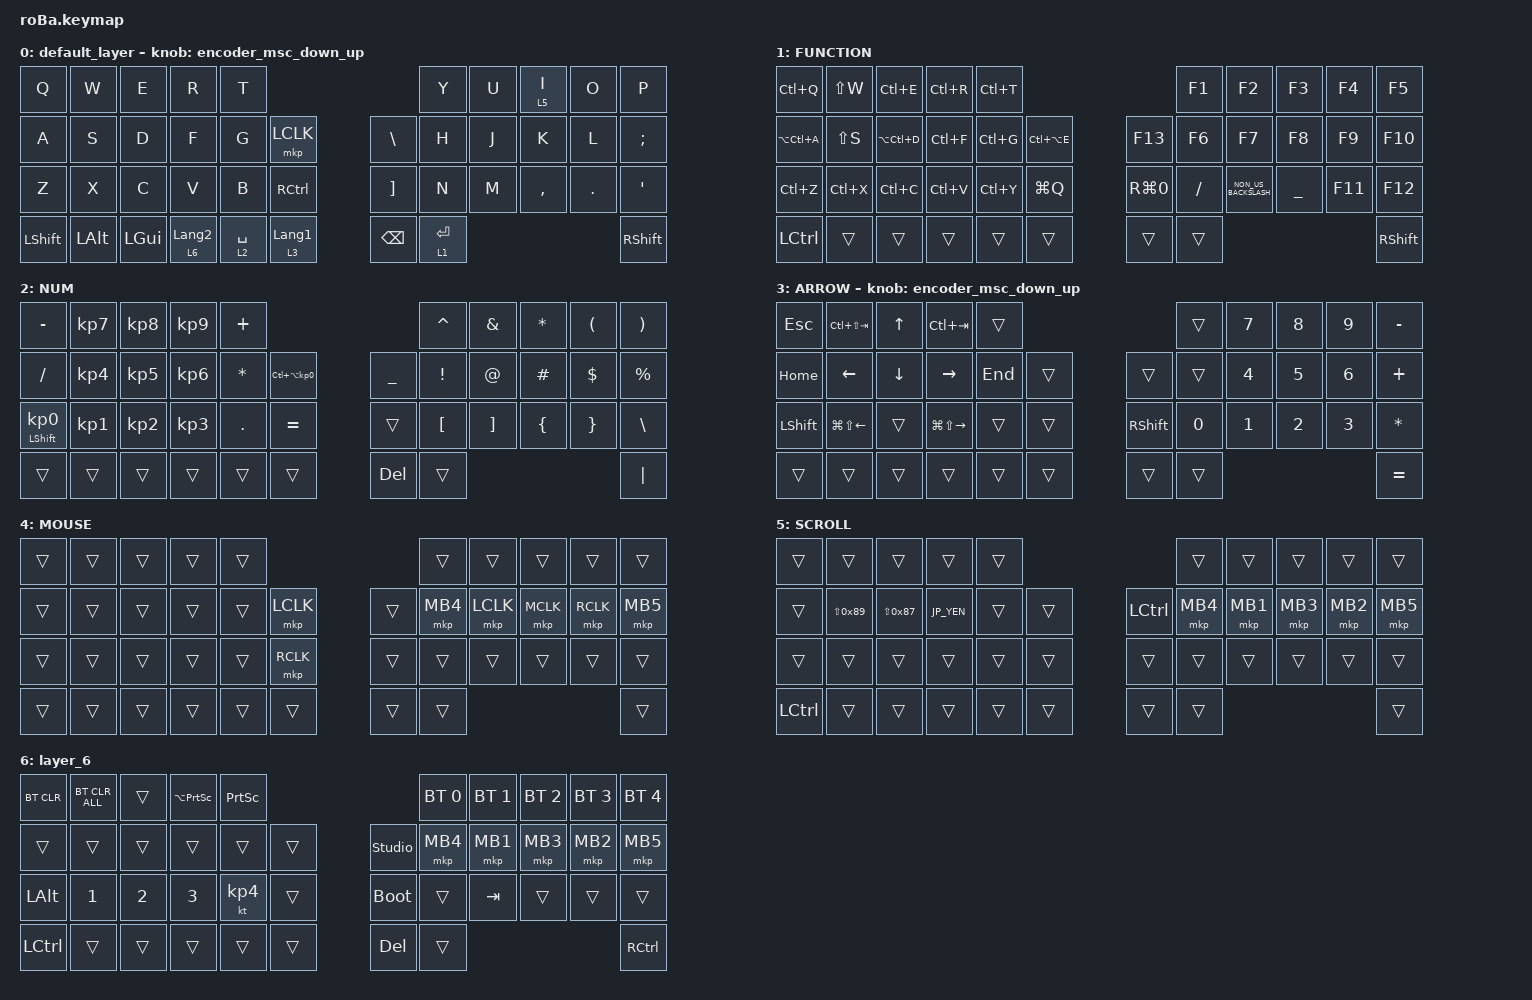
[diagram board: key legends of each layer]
#define ZMK_POINTING_DEFAULT_SCRL_VAL 80

#include <behaviors.dtsi>
#include <dt-bindings/zmk/bt.h>
#include <dt-bindings/zmk/keys.h>
#include <dt-bindings/zmk/pointing.h>

#define MOUSE 4
#define SCROLL 5
#define NUM 6
#define JP_DQUOTE       AT                // "
#define JP_AMPERSAND    CARET             // &
#define JP_QUOTE        AMPERSAND         // '
#define JP_EQUAL        UNDER             // =
#define JP_CARET        EQUAL             // ^
#define JP_YEN          0x89              // ¥
#define JP_PLUS         COLON             // +
#define JP_TILDE        PLUS              // ~
#define JP_PIPE         LS(0x89)          // |
#define JP_AT           LEFT_BRACKET      // @
#define JP_COLON        SINGLE_QUOTE      // :
#define JP_ASTERISK     DOUBLE_QUOTES     // *
#define JP_BACKQUOTE    LEFT_BRACE        // `
#define JP_UNDERSCORE   LS(0x87)          // _
#define JP_LBRACKET     RIGHT_BRACKET     // [
#define JP_RBRACKET     BACKSLASH         // ]
#define JP_LPAREN       ASTERISK          // (
#define JP_RPAREN       LEFT_PARENTHESIS  // )
#define JP_LBRACE       RIGHT_BRACE       // {
#define JP_RBRACE       PIPE              // }
#define JP_KANA         LANGUAGE_1        // かな
#define JP_EISU         LANGUAGE_2        // 英数
#define JP_HANZEN       GRAVE             // 半角/全角

&mt {
    flavor = "balanced";
    quick-tap-ms = <0>;
};

&trackball {
    /*
     * automouse(自動マウス層=レイヤー4)はドライバ側では無効化する
     * (automouse-layer未指定=デフォルト-1)。ZMKのtemp-layer入力プロセッサ
     * (roBa_R.overlay)に一本化し、二重管理とタイプ中の誤マウス層化を防ぐ。
     * scroll(レイヤー5)はドライバ内蔵機能を継続使用。
     */
    scroll-layers = <5>;

    /*
    arrows {
        layers = <3>;
        bindings =
            <&kp RIGHT_ARROW>,
            <&kp LEFT_ARROW>,
            <&kp UP_ARROW>,
            <&kp DOWN_ARROW>;
        tick = <10>;
        wait-ms = <5>;
        tap-ms = <5>;
    };
    */
};

/ {
    combos {
        compatible = "zmk,combos";

        tab {
            bindings = <&kp TAB>;
            key-positions = <11 12>;
        };

        shift_tab {
            bindings = <&kp LS(TAB)>;
            key-positions = <12 13>;
        };

        muhennkann {
            bindings = <&to_layer_0 INT_MUHENKAN>;
            key-positions = <11 10>;
        };

        double_quotation {
            bindings = <&kp DOUBLE_QUOTES>;
            key-positions = <20 21>;
        };

        eq {
            bindings = <&kp EQUAL>;
            key-positions = <24 25>;
        };
    };

    macros {
        to_layer_0: to_layer_0 {
            compatible = "zmk,behavior-macro-one-param";
            #binding-cells = <1>;
            bindings = <&to 0 &macro_param_1to1 &kp MACRO_PLACEHOLDER>;
            label = "TO_LAYER_0";
        };
    };

    behaviors {
        lt_to_layer_0: lt_to_layer_0 {
            compatible = "zmk,behavior-hold-tap";
            label = "LAYER_TAP_TO_0";
            bindings = <&mo>, <&to_layer_0>;

            #binding-cells = <2>;
            tapping-term-ms = <200>;
        };

        encoder_msc_down_up: encoder_msc_down_up {
            compatible = "zmk,behavior-sensor-rotate";
            label = "ENCODER_MSC_DOWN_UP";
            #sensor-binding-cells = <0>;
            bindings = <&msc SCRL_DOWN>, <&msc SCRL_UP>;

            tap-ms = <20>;
        };
    };

    keymap {
        compatible = "zmk,keymap";

        default_layer {
            bindings = <
&kp Q           &kp W         &kp E         &kp R                     &kp T                                                         &kp Y        &kp U  &lt 5 I    &kp O    &kp P
&kp A           &kp S         &kp D         &kp F                     &kp G        &mkp LCLK                     &kp BACKSLASH      &kp H        &kp J  &kp K      &kp L    &kp SEMICOLON
&kp Z           &kp X         &kp C         &kp V                     &kp B        &kp RIGHT_CONTROL             &kp RIGHT_BRACKET  &kp N        &kp M  &kp COMMA  &kp DOT  &kp APOS
&kp LEFT_SHIFT  &kp LEFT_ALT  &kp LEFT_GUI  &lt_to_layer_0 6 JP_EISU  &lt 2 SPACE  &lt_to_layer_0 3 JP_KANA      &kp BACKSPACE      &lt 1 ENTER                             &kp RIGHT_SHIFT
            >;

            sensor-bindings = <&encoder_msc_down_up>;
        };

        FUNCTION {
            bindings = <
&kp LC(Q)         &kp LS(W)  &kp LC(E)      &kp LC(R)  &kp LC(T)                                       &kp F1     &kp F2                &kp F3          &kp F4   &kp F5
&kp LA(LC(A))     &kp LS(S)  &kp LA(LC(D))  &kp LC(F)  &kp LC(G)  &kp LC(LA(E))      &kp F13           &kp F6     &kp F7                &kp F8          &kp F9   &kp F10
&kp LC(Z)         &kp LC(X)  &kp LC(C)      &kp LC(V)  &kp LC(Y)  &kp LG(Q)          &kp RG(NUMBER_0)  &kp SLASH  &kp NON_US_BACKSLASH  &kp UNDERSCORE  &kp F11  &kp F12
&kp LEFT_CONTROL  &trans     &trans         &trans     &trans     &trans             &trans            &trans                                                    &kp RIGHT_SHIFT
            >;
        };

        NUM {
            bindings = <
&kp MINUS                   &kp KP_NUMBER_7  &kp KP_NUMBER_8  &kp KP_NUMBER_9  &kp PLUS                                                   &kp CARET         &kp AMPERSAND      &kp ASTERISK    &kp LEFT_PARENTHESIS  &kp RIGHT_PARENTHESIS
&kp SLASH                   &kp KP_NUMBER_4  &kp KP_NUMBER_5  &kp KP_NUMBER_6  &kp ASTERISK  &kp LC(LA(KP_NUMBER_0))      &kp UNDERSCORE  &kp EXCLAMATION   &kp AT_SIGN        &kp HASH        &kp DOLLAR            &kp PERCENT
&mt LEFT_SHIFT KP_NUMBER_0  &kp KP_NUMBER_1  &kp KP_NUMBER_2  &kp KP_NUMBER_3  &kp PERIOD    &kp EQUAL                    &trans          &kp LEFT_BRACKET  &kp RIGHT_BRACKET  &kp LEFT_BRACE  &kp RIGHT_BRACE       &kp BACKSLASH
&trans                      &trans           &trans           &trans           &trans        &trans                       &kp DEL         &trans                                                                     &kp PIPE
            >;
        };

        ARROW {
            bindings = <
&kp ESCAPE      &kp LC(LS(TAB))         &kp UP_ARROW    &kp LC(TAB)              &trans                                &trans  &kp N7  &kp N8        &kp N9        &kp MINUS
&kp HOME        &kp LEFT_ARROW          &kp DOWN_ARROW  &kp RIGHT_ARROW          &kp END  &trans      &trans           &trans  &kp N4  &kp NUMBER_5  &kp NUMBER_6  &kp PLUS
&kp LEFT_SHIFT  &kp LG(LS(LEFT_ARROW))  &trans          &kp LG(LS(RIGHT_ARROW))  &trans   &trans      &kp RIGHT_SHIFT  &kp N0  &kp N1  &kp N2        &kp N3        &kp ASTERISK
&trans          &trans                  &trans          &trans                   &trans   &trans      &trans           &trans                                      &kp EQUAL
            >;

            sensor-bindings = <&encoder_msc_down_up>;
        };

        MOUSE {
            bindings = <
&trans  &trans  &trans  &trans  &trans                         &trans    &trans     &trans     &trans     &trans
&trans  &trans  &trans  &trans  &trans  &mkp LCLK      &trans  &mkp MB4  &mkp LCLK  &mkp MCLK  &mkp RCLK  &mkp MB5
&trans  &trans  &trans  &trans  &trans  &mkp RCLK      &trans  &trans    &trans     &trans     &trans     &trans
&trans  &trans  &trans  &trans  &trans  &trans         &trans  &trans                                     &trans
            >;
        };

        SCROLL {
            bindings = <
&trans            &trans       &trans             &trans      &trans                                &trans    &trans    &trans    &trans    &trans
&trans            &kp JP_PIPE  &kp JP_UNDERSCORE  &kp JP_YEN  &trans  &trans      &kp LEFT_CONTROL  &mkp MB4  &mkp MB1  &mkp MB3  &mkp MB2  &mkp MB5
&trans            &trans       &trans             &trans      &trans  &trans      &trans            &trans    &trans    &trans    &trans    &trans
&kp LEFT_CONTROL  &trans       &trans             &trans      &trans  &trans      &trans            &trans                                  &trans
            >;
        };

        layer_6 {
            bindings = <
&bt BT_CLR        &bt BT_CLR_ALL  &trans        &kp LA(PRINTSCREEN)  &kp PRINTSCREEN                              &bt BT_SEL 0  &bt BT_SEL 1  &bt BT_SEL 2  &bt BT_SEL 3  &bt BT_SEL 4
&trans            &trans          &trans        &trans               &trans           &trans      &studio_unlock  &mkp MB4      &mkp MB1      &mkp MB3      &mkp MB2      &mkp MB5
&kp LEFT_ALT      &kp NUMBER_1    &kp NUMBER_2  &kp NUMBER_3         &kt KP_N4        &trans      &bootloader     &trans        &kp TAB       &trans        &trans        &trans
&kp LEFT_CONTROL  &trans          &trans        &trans               &trans           &trans      &kp DELETE      &trans                                                  &kp RIGHT_CONTROL
            >;
        };
    };
};
